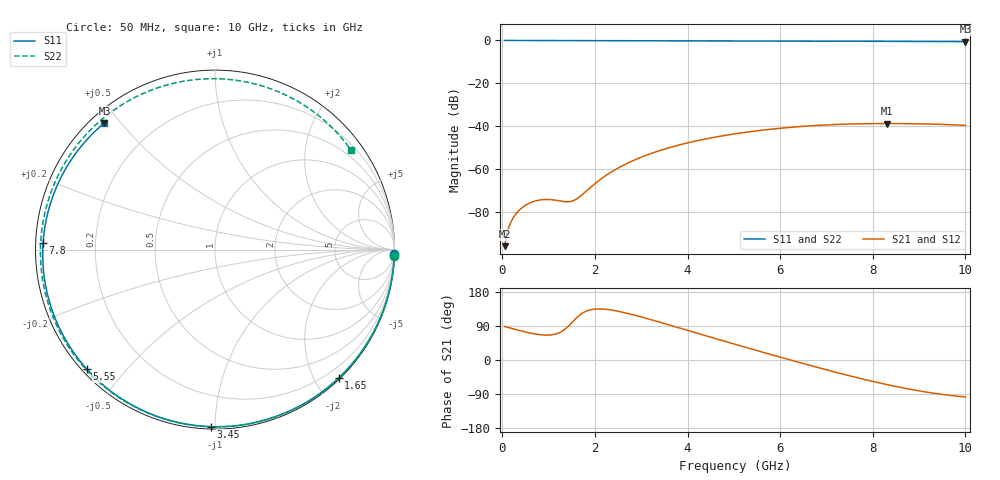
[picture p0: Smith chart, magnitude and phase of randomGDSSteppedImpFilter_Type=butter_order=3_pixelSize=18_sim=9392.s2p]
! freq	dB(S11)	phase(S11)	dB(S12)	phase(S12)
!  dB(S21)	phase(S21)	dB(S22)	phase(S22)
!S-par simulation data
#  GHz  S  DB  R 50
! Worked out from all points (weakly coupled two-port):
!   200 points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, 50 MHz to 10 GHz, reference 50 ohm
!   highest |S21| = -38.78 dB at 8.3 GHz (marker M1); lowest = -96.0 dB at 50 MHz (marker M2)
!   lowest |S11| = -0.6 dB at 10 GHz (marker M3), VSWR 30.68, Z = 1.97 + j22.7 ohm
!   |S11| at or under -10 dB: nowhere
!   |S22| runs from -0.5 to 0.0 dB; largest |S21 - S12| = 0
!   S11 on the Smith chart (normalised r, x): 50 MHz: 0, -79; 1.65 GHz: 0.02, -2.35; 3.45 GHz: 0.01, -0.98; 5.55 GHz: 0.01, -0.39; 7.8 GHz: 0.02, +0.02; 10 GHz: 0.04, +0.45
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0.05  -0.00 -1.4  -96.01 88.3  -96.01 88.3  -0.00 -2.1
0.3  -0.01 -8.6  -80.77 80.1  -80.77 80.1  -0.02 -12.2
0.55  -0.02 -15.6  -76.33 72.5  -76.33 72.5  -0.03 -22.2
0.8  -0.03 -22.7  -74.50 67.1  -74.50 67.1  -0.04 -32.1
1.45  -0.05 -40.6  -75.25 91.9  -75.25 91.9  -0.07 -57.2
1.65  -0.06 -46.0  -73.28 116.4  -73.28 116.4  -0.08 -64.7
1.75  -0.06 -48.7  -71.51 125.2  -71.51 125.2  -0.08 -68.3
2.1  -0.07 -57.9  -65.15 134.9  -65.15 134.9  -0.10 -80.9
2.45  -0.08 -66.9  -60.16 129.8  -60.16 129.8  -0.11 -93.0
3.4  -0.11 -90.1  -51.39 99.8  -51.39 99.8  -0.15 -123.9
3.45  -0.12 -91.3  -51.05 98.1  -51.05 98.1  -0.15 -125.4
4.25  -0.15 -109.5  -46.59 69.2  -46.59 69.2  -0.19 -149.6
5.05  -0.18 -126.7  -43.50 40.6  -43.50 40.6  -0.23 -172.8
5.55  -0.21 -137.1  -42.04 23.1  -42.04 23.1  -0.26 172.8
6.1  -0.24 -148.3  -40.79 4.2  -40.79 4.2  -0.29 156.9
6.7  -0.28 -160.3  -39.78 -16.0  -39.78 -16.0  -0.33 139.4
7.25  -0.32 -171.3  -39.18 -33.9  -39.18 -33.9  -0.36 122.9
7.8  -0.37 177.7  -38.86 -50.8  -38.86 -50.8  -0.39 106.1
8.3  -0.41 167.5  -38.78 -64.8  -38.78 -64.8  -0.42 90.4
8.35  -0.42 166.5  -38.78 -66.1  -38.78 -66.1  -0.43 88.8
9.15  -0.49 149.8  -38.97 -84.5  -38.97 -84.5  -0.48 63.3
10  -0.57 131.1  -39.65 -97.6  -39.65 -97.6  -0.55 36.1
